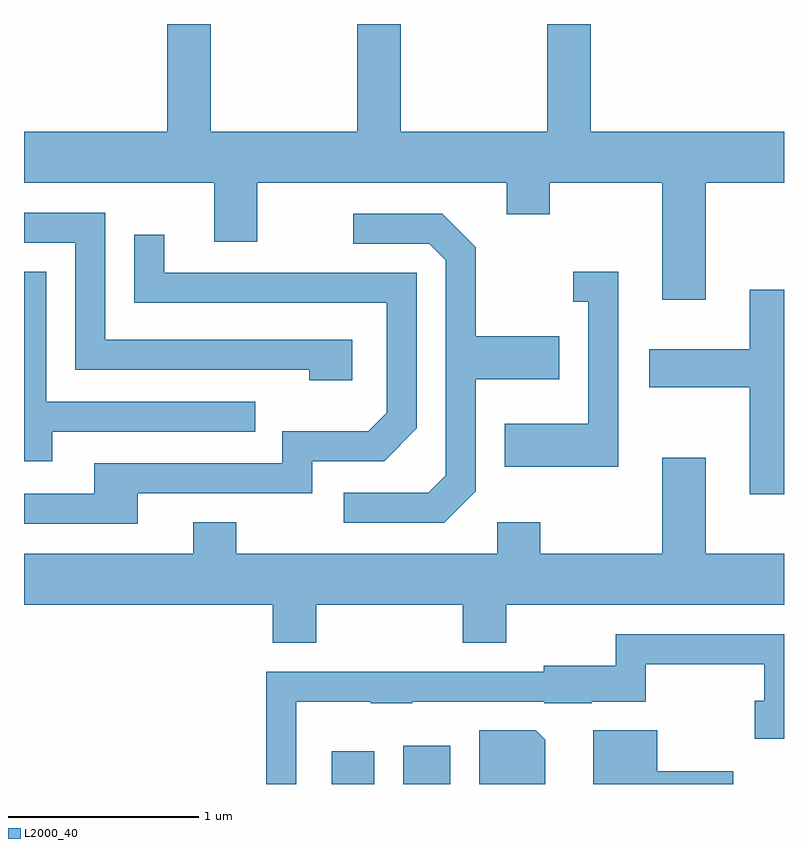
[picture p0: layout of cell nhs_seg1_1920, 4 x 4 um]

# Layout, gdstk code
import gdstk
lib = gdstk.Library(unit=1e-6, precision=1e-09)
def R(c, l, rs):  # rectangles x0, y0, x1, y1
    for r in rs: c.add(gdstk.rectangle(r[:2], r[2:], *l))
def P(c, l, *ps):  # polygons
    for p in ps: c.add(gdstk.Polygon(p, *l))
L2000_40 = (2000, 40)

nhs_seg1_1920 = lib.new_cell('nhs_seg1_1920')
R(nhs_seg1_1920, L2000_40, [(245.231,929.712,245.454,929.884), (245.606,929.712,245.854,929.914)])
P(nhs_seg1_1920, L2000_40, [(247.199,932.876),(247.611,932.876),(247.611,933.144),(246.594,933.144),(246.594,933.712),(246.366,933.712),(246.366,933.144),(245.594,933.144),(245.594,933.712),(245.366,933.712),(245.366,933.144),(244.594,933.144),(244.594,933.712),(244.366,933.712),(244.366,933.144),(243.611,933.144),(243.611,932.876),(244.611,932.876),(244.611,932.566),(244.839,932.566),(244.839,932.876),(246.151,932.876),(246.151,932.711),(246.379,932.711),(246.379,932.876),(246.971,932.876),(246.971,932.261),(247.199,932.261)],
  [(245.339,932.049),(244.039,932.049),(244.039,932.719),(243.611,932.719),(243.611,932.561),(243.881,932.561),(243.881,931.891),(245.111,931.891),(245.111,931.836),(245.339,931.836)],
  [(245.989,931.254),(245.989,931.841),(246.429,931.841),(246.429,932.069),(245.989,932.069),(245.989,932.537),(245.812,932.714),(245.343,932.714),(245.343,932.556),(245.744,932.556),(245.831,932.469),(245.831,931.337),(245.739,931.244),(245.293,931.244),(245.293,931.086),(245.822,931.086)],
  [(244.209,931.241),(245.129,931.241),(245.129,931.411),(245.507,931.411),(245.679,931.584),(245.679,932.404),(244.349,932.404),(244.349,932.603),(244.191,932.603),(244.191,932.246),(245.521,932.246),(245.521,931.667),(245.424,931.569),(244.971,931.569),(244.971,931.399),(243.981,931.399),(243.981,931.239),(243.613,931.239),(243.613,931.081),(244.209,931.081)],
  [(246.739,932.409),(246.503,932.409),(246.503,932.251),(246.581,932.251),(246.581,931.609),(246.141,931.609),(246.141,931.381),(246.739,931.381)],
  [(243.759,931.566),(244.828,931.566),(244.828,931.724),(243.729,931.724),(243.729,932.409),(243.611,932.409),(243.611,931.411),(243.759,931.411)],
  [(247.611,932.314),(247.431,932.314),(247.431,931.999),(246.901,931.999),(246.901,931.801),(247.431,931.801),(247.431,931.236),(247.611,931.236)],
  [(247.611,930.924),(247.199,930.924),(247.199,931.429),(246.971,931.429),(246.971,930.924),(246.329,930.924),(246.329,931.089),(246.101,931.089),(246.101,930.924),(244.729,930.924),(244.729,931.089),(244.501,931.089),(244.501,930.924),(243.611,930.924),(243.611,930.656),(244.921,930.656),(244.921,930.456),(245.149,930.456),(245.149,930.656),(245.921,930.656),(245.921,930.456),(246.149,930.456),(246.149,930.656),(247.611,930.656)],
  [(245.044,930.146),(245.435,930.146),(245.435,930.136),(245.655,930.136),(245.655,930.146),(246.35,930.146),(246.35,930.136),(246.6,930.136),(246.6,930.146),(246.884,930.146),(246.884,930.341),(247.506,930.341),(247.506,930.149),(247.456,930.149),(247.456,929.951),(247.611,929.951),(247.611,930.499),(246.726,930.499),(246.726,930.334),(246.346,930.334),(246.346,930.304),(244.886,930.304),(244.886,929.712),(245.044,929.712)],
  [(247.344,929.779),(246.944,929.779),(246.944,929.994),(246.606,929.994),(246.606,929.712),(247.344,929.712)],
  [(246.354,929.944),(246.304,929.994),(246.006,929.994),(246.006,929.712),(246.354,929.712)])

lib.write_gds('nhs_seg1_1920.gds')
